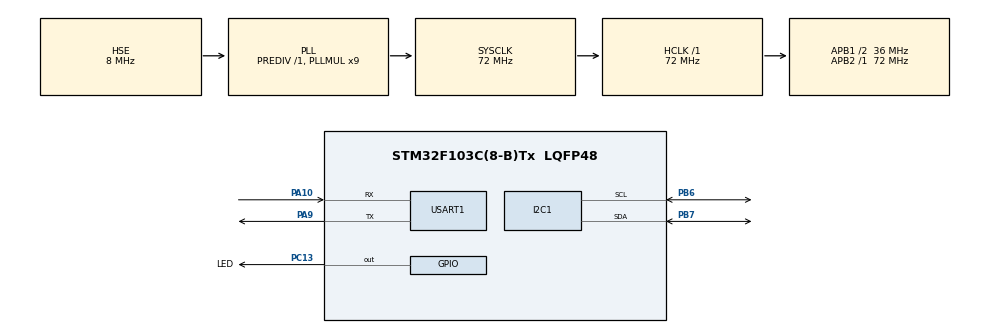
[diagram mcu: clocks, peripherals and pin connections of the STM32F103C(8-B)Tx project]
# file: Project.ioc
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I2C1.I2C_Mode=I2C_Standard
Mcu.Family=STM32F1
Mcu.Name=STM32F103C(8-B)Tx
Mcu.Package=LQFP48
NVIC.PriorityGroup=NVIC_PRIORITYGROUP_4
NVIC.USART1_IRQn=true\:1\:0\:true\:false\:true\:true\:true\:true
PA10.Mode=Asynchronous
PA10.Signal=USART1_RX
PA13.Mode=Serial_Wire
PA13.Signal=SYS_JTMS-SWDIO
PA14.Mode=Serial_Wire
PA14.Signal=SYS_JTCK-SWCLK
PA9.Mode=Asynchronous
PA9.Signal=USART1_TX
PB6.Mode=I2C
PB6.Signal=I2C1_SCL
PB7.Mode=I2C
PB7.Signal=I2C1_SDA
PC13-TAMPER-RTC.GPIO_Label=LED
PC13-TAMPER-RTC.GPIO_ModeDefaultOutputPP=GPIO_MODE_OUTPUT_PP
PC13-TAMPER-RTC.GPIO_PuPd=GPIO_PULLUP
PC13-TAMPER-RTC.GPIO_Speed=GPIO_SPEED_FREQ_MEDIUM
PC13-TAMPER-RTC.PinState=GPIO_PIN_SET
PC13-TAMPER-RTC.Signal=GPIO_Output
PC14-OSC32_IN.Mode=LSE-External-Oscillator
PC14-OSC32_IN.Signal=RCC_OSC32_IN
PC15-OSC32_OUT.Mode=LSE-External-Oscillator
PC15-OSC32_OUT.Signal=RCC_OSC32_OUT
PD0-OSC_IN.Mode=HSE-External-Oscillator
PD0-OSC_IN.Signal=RCC_OSC_IN
PD1-OSC_OUT.Mode=HSE-External-Oscillator
PD1-OSC_OUT.Signal=RCC_OSC_OUT
ProjectManager.HeapSize=0x200
ProjectManager.StackSize=0x400
ProjectManager.TargetToolchain=MDK-ARM V5.32
RCC.AHBFreq_Value=72000000
RCC.APB1CLKDivider=RCC_HCLK_DIV2
RCC.APB1Freq_Value=36000000
RCC.APB1TimFreq_Value=72000000
RCC.APB2Freq_Value=72000000
RCC.APB2TimFreq_Value=72000000
RCC.HCLKFreq_Value=72000000
RCC.PLLMUL=RCC_PLL_MUL9
RCC.PLLSourceVirtual=RCC_PLLSOURCE_HSE
RCC.SYSCLKFreq_VALUE=72000000
RCC.SYSCLKSource=RCC_SYSCLKSOURCE_PLLCLK
RCC.USBFreq_Value=72000000
USART1.VirtualMode=VM_ASYNC
board=custom

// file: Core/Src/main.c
/* USER CODE BEGIN Header */
/**
  ******************************************************************************
  * @file           : main.c
  * @brief          : Main program body
  ******************************************************************************
  * @attention
  *
  * Copyright (c) 2025 STMicroelectronics.
  * All rights reserved.
  *
  * This software is licensed under terms that can be found in the LICENSE file
  * in the root directory of this software component.
  * If no LICENSE file comes with this software, it is provided AS-IS.
  *
  ******************************************************************************
  */
/* USER CODE END Header */
#include "main.h"
#include "i2c.h"
#include "usart.h"
#include "gpio.h"

/* USER CODE BEGIN Includes */
#include "stdio.h"
#include "delay.h"
#include "pcf8591.h"

/* USER CODE END Includes */

void SystemClock_Config(void);

/* USER CODE BEGIN 0 */
uint8_t usart_rev_data;//定义一个全局变量
void HAL_UART_RxCpltCallback(UART_HandleTypeDef *huart)
{
    if(huart->Instance == USART1)//假如有串口1触发接收中断
    {
		//直接处理 usart_rev_data 就行了

		HAL_UART_Receive_IT(&huart1,&usart_rev_data,1);
    }
}
/* USER CODE END 0 */

int main(void)
{

  /* USER CODE BEGIN 1 */
	uint8_t night_adc     = 0;
  /* USER CODE END 1 */

  /* MCU Configuration--------------------------------------------------------*/

  /* Reset of all peripherals, Initializes the Flash interface and the Systick. */
  HAL_Init();

  /* Configure the system clock */
  SystemClock_Config();

  /* Initialize all configured peripherals */
  MX_GPIO_Init();
  MX_USART1_UART_Init();
  MX_I2C1_Init();
  /* USER CODE BEGIN 2 */
	delay_init();
	__HAL_UART_ENABLE_IT(&huart1,UART_IT_RXNE);
	HAL_UART_Receive_IT(&huart1,&usart_rev_data,1);

	printf("init finished!\r\n");
  /* USER CODE END 2 */

  /* Infinite loop */
  /* USER CODE BEGIN WHILE */
  while (1)
  {
		night_adc = pcfAnalogRead(0);
		pcfAnalogWrite(128);
		printf("%u\r\n",night_adc);
		HAL_GPIO_TogglePin(LED_GPIO_Port,LED_Pin);
		HAL_Delay(1000);
    /* USER CODE END WHILE */

  }
}

void SystemClock_Config(void)
{
  RCC_OscInitTypeDef RCC_OscInitStruct = {0};
  RCC_ClkInitTypeDef RCC_ClkInitStruct = {0};

  /** Initializes the RCC Oscillators according to the specified parameters
  * in the RCC_OscInitTypeDef structure.
  */
  RCC_OscInitStruct.OscillatorType = RCC_OSCILLATORTYPE_HSE;
  RCC_OscInitStruct.HSEState = RCC_HSE_ON;
  RCC_OscInitStruct.HSEPredivValue = RCC_HSE_PREDIV_DIV1;
  RCC_OscInitStruct.HSIState = RCC_HSI_ON;
  RCC_OscInitStruct.PLL.PLLState = RCC_PLL_ON;
  RCC_OscInitStruct.PLL.PLLSource = RCC_PLLSOURCE_HSE;
  RCC_OscInitStruct.PLL.PLLMUL = RCC_PLL_MUL9;
  if (HAL_RCC_OscConfig(&RCC_OscInitStruct) != HAL_OK)
  {
    Error_Handler();
  }

  /** Initializes the CPU, AHB and APB buses clocks
  */
  RCC_ClkInitStruct.ClockType = RCC_CLOCKTYPE_HCLK|RCC_CLOCKTYPE_SYSCLK
                              |RCC_CLOCKTYPE_PCLK1|RCC_CLOCKTYPE_PCLK2;
  RCC_ClkInitStruct.SYSCLKSource = RCC_SYSCLKSOURCE_PLLCLK;
  RCC_ClkInitStruct.AHBCLKDivider = RCC_SYSCLK_DIV1;
  RCC_ClkInitStruct.APB1CLKDivider = RCC_HCLK_DIV2;
  RCC_ClkInitStruct.APB2CLKDivider = RCC_HCLK_DIV1;

  if (HAL_RCC_ClockConfig(&RCC_ClkInitStruct, FLASH_LATENCY_2) != HAL_OK)
  {
    Error_Handler();
  }
}

void Error_Handler(void)
{
  __disable_irq();
  while (1)
  {
  }
}
